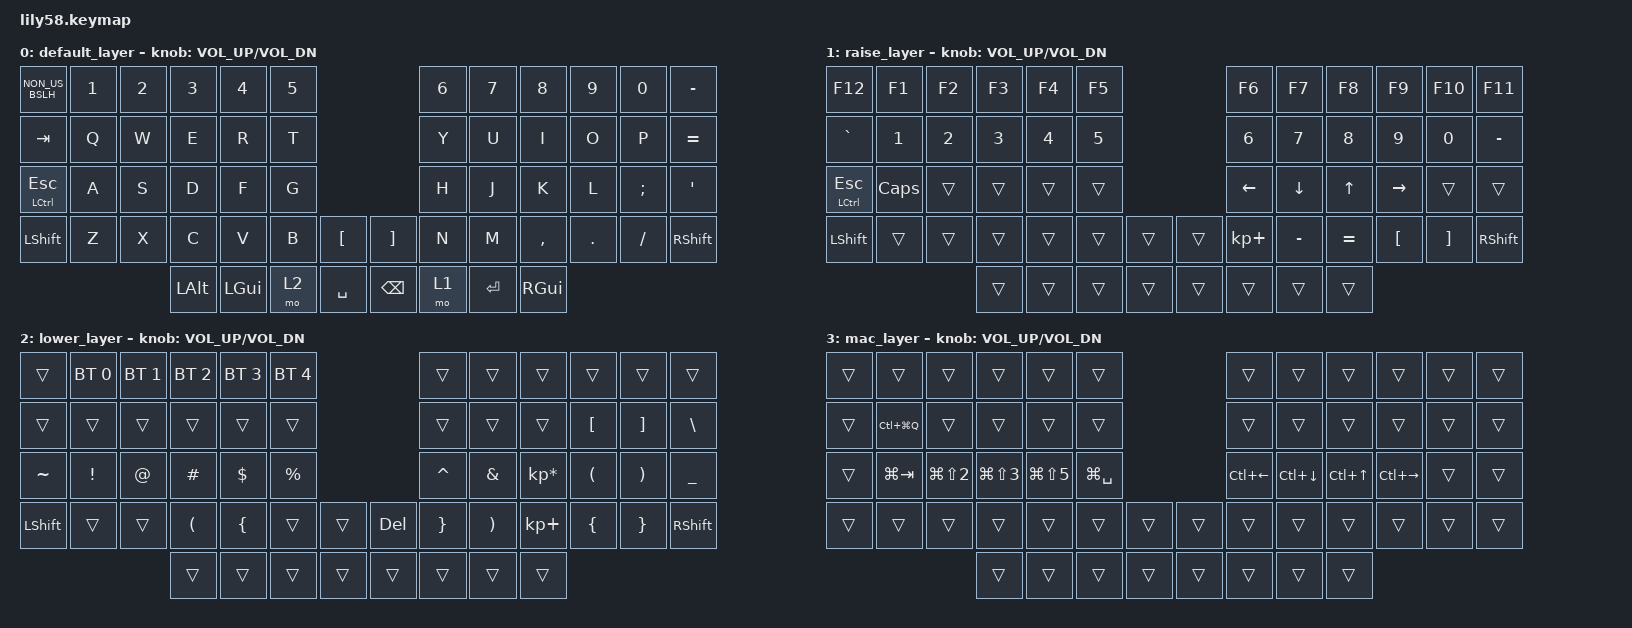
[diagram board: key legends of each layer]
/*
 * Copyright (c) 2020 The ZMK Contributors
 *
 * SPDX-License-Identifier: MIT
 */

#include <behaviors.dtsi>
#include <dt-bindings/zmk/keys.h>
#include <dt-bindings/zmk/bt.h>
#include <dt-bindings/zmk/ext_power.h>

/ {
    // Combo keys are a way to combine multiple keypresses to output a different key.
    combos {
        compatible = "zmk,combos";

        combo_clear_bluetooth {
            timeout-ms = <50>; // Press all the below keys within 50ms to activate mapping
            key-positions = <52 42 0>; // Press 52=LOWER, 42=[, 0=tilde
            bindings = <&bt BT_CLR>; // activate clear bluetooth bindings for current channel
        };
    };

    // Tri-layer: hold LOWER (mo2) + RAISE (mo1) together to reach the mac layer (3).
    conditional_layers {
        compatible = "zmk,conditional-layers";

        tri_mac {
            if-layers = <1 2>;
            then-layer = <3>;
        };
    };

    keymap {
        compatible = "zmk,keymap";

        default_layer {
            // ------------------------------------------------------------------------------------------------------------
            // |  ` ~     |  1  |  2  |  3   |  4   |  5   |                   |  6   |  7    |  8    |  9   |   0   |   -   |
            // |  TAB     |  Q  |  W  |  E   |  R   |  T   |                   |  Y   |  U    |  I    |  O   |   P   |   =   |
            // |hCTRL tESC|  A  |  S  |  D   |  F   |  G   |                   |  H   |  J    |  K    |  L   |   ;   |   '   |
            // | SHIFT    |  Z  |  X  |  C   |  V   |  B   |   "["  |  |  "]"  |  N   |  M    |  ,    |  .   |   /   | SHIFT |
            //                        | OPT  | CMD  | LOWER|  SPACE |  | BSPC  | RAISE| ENTER | CMD   |

            bindings = <
&kp NON_US_BSLH  &kp N1  &kp N2    &kp N3     &kp N4    &kp N5                        &kp N6  &kp N7     &kp N8    &kp N9    &kp N0    &kp MINUS
      &kp TAB    &kp Q   &kp W     &kp E      &kp R     &kp T                         &kp Y   &kp U      &kp I     &kp O     &kp P     &kp EQUAL
&mt LCTRL ESC    &kp A   &kp S     &kp D      &kp F     &kp G                         &kp H   &kp J      &kp K     &kp L     &kp SEMI  &kp SQT
    &kp LSHFT    &kp Z   &kp X     &kp C      &kp V     &kp B  &kp LBKT     &kp RBKT  &kp N   &kp M      &kp COMMA &kp DOT   &kp FSLH  &kp RSHFT
                                   &kp LALT   &kp LGUI  &mo 2  &kp SPACE    &kp BSPC  &mo 1   &kp RET    &kp RGUI
            >;

            sensor-bindings = <&inc_dec_kp C_VOL_UP C_VOL_DN>;
        };

        raise_layer {
            // ------------------------------------------------------------------------------------------------------------
            // |  F12    |  F1 |  F2 |  F3  |  F4  |  F5  |                   |  F6  |   F7  |   F8  |  F9  |  F10  |  F11  |
            // |   `     |  1  |  2  |  3   |  4   |  5   |                   |  6   |   7   |   8   |  9   |   0   |   -   |
            // |CTRL/ESC |CAPS |     |      |      |      |                   |  <-  |   ^   |   v   |  ->  |       |       |
            // | SHIFT   |     |     |      |      |      |        |  |       |  +   |   -   |   =   |  [   |   ]   |   \   |
            //                       |      |      |      |        |  |       |      |       |       |

            bindings = <
      &kp F12  &kp F1  &kp F2  &kp F3  &kp F4  &kp F5                   &kp F6       &kp F7     &kp F8     &kp F9    &kp F10   &kp F11
    &kp GRAVE  &kp N1  &kp N2  &kp N3  &kp N4  &kp N5                   &kp N6       &kp N7     &kp N8     &kp N9    &kp N0    &kp MINUS
&mt LCTRL ESC  &kp CAPS  &trans  &trans  &trans  &trans                 &kp LEFT     &kp DOWN   &kp UP     &kp RIGHT &trans    &trans
   &kp LSHIFT  &trans  &trans  &trans  &trans  &trans  &trans  &trans   &kp KP_PLUS  &kp MINUS  &kp EQUAL  &kp LBKT  &kp RBKT  &kp RIGHT_SHIFT
                               &trans  &trans  &trans  &trans  &trans   &trans       &trans     &trans
            >;

            sensor-bindings = <&inc_dec_kp C_VOL_UP C_VOL_DN>;
        };

        lower_layer {
            // ------------------------------------------------------------------------------------------------------------
            // |          | BT1     | BT2    |  BT3 |  BT4  |  BT5 |                    |      |       |       |      |       |       |
            // |          |         |        |      |       |      |                    |      |       |       |  [   |   ]   |   \   |
            // |   ~      |  !      |  @     |  #   |  $    |  %   |                    |  ^   |  &    |  *    |  (   |   )   |   _   |
            // | SHIFT    |  EP_ON  | EP_OFF |      |  (    |  {   |       |  |   DEL   |  }   |  )    |  +    |  {   |   }   | SHIFT |
            //                               |      |       |      |       |  |         |      |       |       |
            bindings = <
    &trans       &bt BT_SEL 0  &bt BT_SEL 1  &bt BT_SEL 2  &bt BT_SEL 3  &bt BT_SEL 4                  &trans     &trans      &trans          &trans     &trans    &trans
    &trans       &trans        &trans        &trans        &trans        &trans                        &trans     &trans      &trans          &kp LBKT   &kp RBKT  &kp BSLH
    &kp TILDE    &kp EXCL      &kp AT        &kp HASH      &kp DOLLAR    &kp PRCNT                     &kp CARET  &kp AMPS    &kp KP_MULTIPLY &kp LPAR   &kp RPAR  &kp UNDER
    &kp LSHIFT   &trans        &trans        &kp LPAR      &kp LBRC      &trans    &trans    &kp DEL   &kp RBRC   &kp RPAR    &kp KP_PLUS     &kp LBRC   &kp RBRC  &kp RSHFT
                                             &trans        &trans        &trans    &trans    &trans    &trans     &trans      &trans    
            >;

            sensor-bindings = <&inc_dec_kp C_VOL_UP C_VOL_DN>;
        };

        mac_layer {
            // macOS layer — reached by holding LOWER + RAISE together (tri-layer).
            // ------------------------------------------------------------------------------------------------------------
            // |          |        |        |       |       |       |                  |        |        |        |       |       |       |
            // |          | LOCK   |        |       |       |       |                  |        |        |        |       |       |       |
            // |          | APPSW  | SHOTTR | SHOT_F| SHOT_M| SPOTLT|                  | DESK<- | EXPOSE | MISSION| DESK->|       |       |
            // |          |        |        |       |       |       |       |  |       |        |        |        |       |       |       |
            //                              |       |       |       |       |  |       |        |        |        |
            //
            // APPSW = Cmd+Tab   SHOTTR = Cmd+Shift+2 (Shottr area)   SHOT_F = Cmd+Shift+3 (native full)
            // SHOT_M = Cmd+Shift+5 (native menu)   SPOTLT = Cmd+Space   LOCK = Ctrl+Cmd+Q
            // DESK<-/-> = Ctrl+Left/Right (switch desktops)   MISSION = Ctrl+Up   EXPOSE = Ctrl+Down
            bindings = <
    &trans   &trans          &trans            &trans            &trans            &trans                            &trans          &trans          &trans        &trans           &trans   &trans
    &trans   &kp LC(LG(Q))   &trans            &trans            &trans            &trans                            &trans          &trans          &trans        &trans           &trans   &trans
    &trans   &kp LG(TAB)     &kp LG(LS(N2))    &kp LG(LS(N3))    &kp LG(LS(N5))    &kp LG(SPACE)                     &kp LC(LEFT)    &kp LC(DOWN)    &kp LC(UP)    &kp LC(RIGHT)    &trans   &trans
    &trans   &trans          &trans            &trans            &trans            &trans    &trans      &trans      &trans          &trans          &trans        &trans           &trans   &trans
                                               &trans            &trans            &trans    &trans      &trans      &trans          &trans          &trans
            >;

            sensor-bindings = <&inc_dec_kp C_VOL_UP C_VOL_DN>;
        };
    };
};
